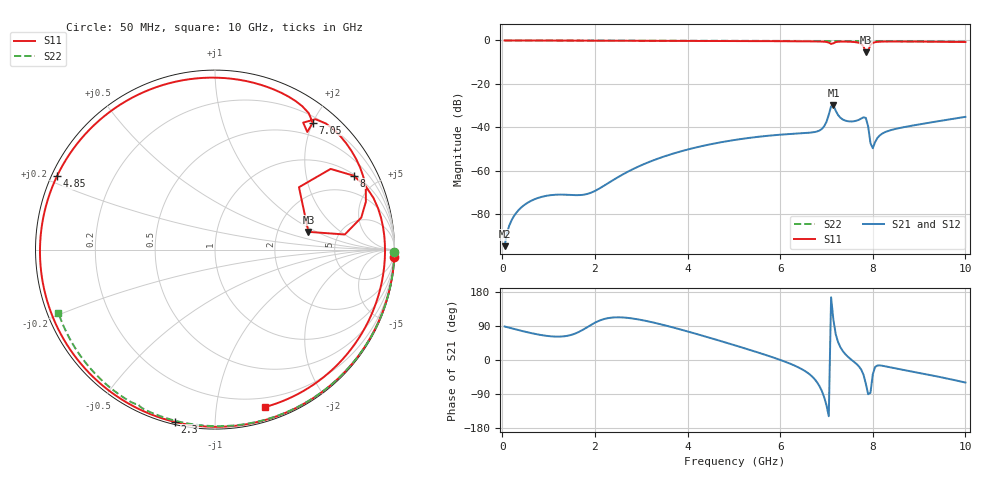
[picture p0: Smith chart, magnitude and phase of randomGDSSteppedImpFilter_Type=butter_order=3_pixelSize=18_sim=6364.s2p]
! freq	dB(S11)	phase(S11)	dB(S12)	phase(S12)
!  dB(S21)	phase(S21)	dB(S22)	phase(S22)
!S-par simulation data
#  GHz  S  DB  R 50
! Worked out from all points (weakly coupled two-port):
!   200 points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, 50 MHz to 10 GHz, reference 50 ohm
!   highest |S21| = -29.93 dB at 7.15 GHz (marker M1); lowest = -94.8 dB at 50 MHz (marker M2)
!   lowest |S11| = -5.5 dB at 7.85 GHz (marker M3), VSWR 3.25, Z = 150 + j41.3 ohm
!   |S11| at or under -10 dB: nowhere
!   |S22| runs from -0.5 to 0.0 dB; largest |S21 - S12| = 0
!   S11 on the Smith chart (normalised r, x): 50 MHz: 0, -48; 2.3 GHz: 0.01, -0.79; 4.85 GHz: 0.02, +0.22; 7.05 GHz: 0.29, +2.00; 8 GHz: 1.06, +3.72; 10 GHz: 0.12, -1.36
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0.05  -0.00 -2.4  -94.85 88.4  -94.85 88.4  -0.00 -0.9
0.9  -0.05 -42.1  -71.85 64.7  -71.85 64.7  -0.02 -16.2
1.75  -0.10 -80.0  -71.14 80.5  -71.14 80.5  -0.04 -31.3
2.3  -0.12 -103.2  -65.60 110.9  -65.60 110.9  -0.05 -40.9
3.4  -0.17 -147.2  -54.18 94.9  -54.18 94.9  -0.08 -59.4
4.85  -0.26 155.1  -46.45 45.1  -46.45 45.1  -0.12 -82.6
5.05  -0.27 146.8  -45.77 37.7  -45.77 37.7  -0.13 -85.7
5.95  -0.34 107.7  -43.54 2.5  -43.54 2.5  -0.17 -99.3
6.7  -0.43 72.1  -42.39 -44.7  -42.39 -44.7  -0.22 -110.3
6.9  -0.52 61.5  -40.81 -81.7  -40.81 -81.7  -0.23 -113.3
7.05  -0.99 52.4  -34.23 -148.4  -34.23 -148.4  -0.28 -115.7
7.15  -1.30 55.2  -29.93 105.9  -29.93 105.9  -0.35 -116.5
7.35  -0.52 42.1  -36.41 24.0  -36.41 24.0  -0.27 -119.4
7.65  -0.85 22.1  -36.98 -10.6  -36.98 -10.6  -0.29 -123.8
7.75  -1.57 12.3  -36.03 -25.2  -36.03 -25.2  -0.29 -125.2
7.85  -5.52 10.8  -35.71 -62.7  -35.71 -62.7  -0.30 -126.7
7.9  -4.69 36.6  -39.64 -90.4  -39.64 -90.4  -0.30 -127.4
7.95  -2.10 34.9  -47.32 -86.8  -47.32 -86.8  -0.31 -128.1
8  -1.16 28.1  -49.69 -38.1  -49.69 -38.1  -0.31 -128.8
8.35  -0.47 2.0  -41.60 -18.6  -41.60 -18.6  -0.34 -133.8
9.2  -0.55 -38.5  -37.99 -38.8  -37.99 -38.8  -0.43 -146.1
10  -0.72 -72.3  -35.22 -59.5  -35.22 -59.5  -0.53 -157.9
